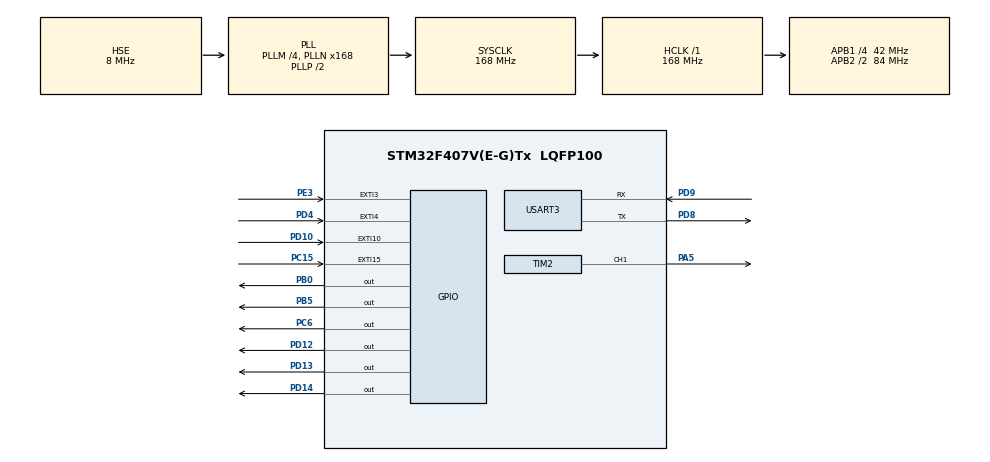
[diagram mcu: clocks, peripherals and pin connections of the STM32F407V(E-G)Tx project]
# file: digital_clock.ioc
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Mcu.Family=STM32F4
Mcu.Name=STM32F407V(E-G)Tx
Mcu.Package=LQFP100
NVIC.EXTI15_10_IRQn=true\:0\:0\:false\:true\:true\:3\:true\:true\:true
NVIC.EXTI3_IRQn=true\:0\:0\:false\:true\:true\:4\:true\:true\:true
NVIC.EXTI4_IRQn=true\:0\:0\:false\:true\:true\:2\:true\:true\:true
NVIC.PriorityGroup=NVIC_PRIORITYGROUP_4
NVIC.TIM6_DAC_IRQn=true\:0\:0\:false\:true\:true\:1\:true\:true\:true
NVIC.USART3_IRQn=true\:0\:0\:false\:true\:true\:5\:true\:true\:true
PA5.Signal=S_TIM2_CH1_ETR
PB0.Signal=GPIO_Output
PB5.Signal=GPIO_Output
PC15-OSC32_OUT.GPIO_ModeDefaultEXTI=GPIO_MODE_IT_RISING_FALLING
PC15-OSC32_OUT.Signal=GPXTI15
PC6.Signal=GPIO_Output
PD10.GPIO_ModeDefaultEXTI=GPIO_MODE_IT_RISING_FALLING
PD10.Signal=GPXTI10
PD12.Signal=GPIO_Output
PD13.Signal=GPIO_Output
PD14.Signal=GPIO_Output
PD4.GPIO_ModeDefaultEXTI=GPIO_MODE_IT_RISING_FALLING
PD4.Signal=GPXTI4
PD8.Mode=Asynchronous
PD8.Signal=USART3_TX
PD9.Mode=Asynchronous
PD9.Signal=USART3_RX
PE3.GPIO_ModeDefaultEXTI=GPIO_MODE_IT_RISING_FALLING
PE3.Signal=GPXTI3
PH0-OSC_IN.Mode=HSE-External-Oscillator
PH0-OSC_IN.Signal=RCC_OSC_IN
PH1-OSC_OUT.Mode=HSE-External-Oscillator
PH1-OSC_OUT.Signal=RCC_OSC_OUT
ProjectManager.HeapSize=0x200
ProjectManager.StackSize=0x400
ProjectManager.TargetToolchain=STM32CubeIDE
RCC.48MHZClocksFreq_Value=84000000
RCC.AHBFreq_Value=168000000
RCC.APB1CLKDivider=RCC_HCLK_DIV4
RCC.APB1Freq_Value=42000000
RCC.APB1TimFreq_Value=84000000
RCC.APB2CLKDivider=RCC_HCLK_DIV2
RCC.APB2Freq_Value=84000000
RCC.APB2TimFreq_Value=168000000
RCC.CortexFreq_Value=168000000
RCC.HCLKFreq_Value=168000000
RCC.HSE_VALUE=8000000
RCC.HSI_VALUE=16000000
RCC.LSE_VALUE=32768
RCC.PLLM=4
RCC.PLLN=168
RCC.PLLSourceVirtual=RCC_PLLSOURCE_HSE
RCC.SYSCLKFreq_VALUE=168000000
RCC.SYSCLKSource=RCC_SYSCLKSOURCE_PLLCLK
RCC.VCOOutputFreq_Value=336000000
SH.S_TIM2_CH1_ETR.0=TIM2_CH1,PWM Generation1 CH1
TIM2.Channel-PWM\ Generation1\ CH1=TIM_CHANNEL_1
TIM2.Period=9
TIM2.Prescaler=41999
TIM2.Pulse-PWM\ Generation1\ CH1=4
TIM6.Period=1000-1
TIM6.Prescaler=84-1
USART3.VirtualMode=VM_ASYNC
VP_TIM2_VS_ClockSourceINT.Mode=Internal
VP_TIM6_VS_ClockSourceINT.Mode=Enable_Timer
board=custom

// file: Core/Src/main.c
/* USER CODE BEGIN Header */
/**
  ******************************************************************************
  * @file           : main.c
  * @brief          : Main program body
  ******************************************************************************
  * @attention
  *
  * Copyright (c) 2024 STMicroelectronics.
  * All rights reserved.
  *
  * This software is licensed under terms that can be found in the LICENSE file
  * in the root directory of this software component.
  * If no LICENSE file comes with this software, it is provided AS-IS.
  *
  ******************************************************************************
  */
/* USER CODE END Header */
#include "main.h"
#include "tim.h"
#include "usart.h"
#include "gpio.h"

/* USER CODE BEGIN Includes */
#include "7SEG.h"
#include "CLCD.h"
#include "lap.h"
#include "buzzer.h"
#include "btn.h"
#include "stopwatch.h"
#include "watch.h"
#include "alarm.h"
#include "mode.h"
/* USER CODE END Includes */

/* USER CODE BEGIN PV */
bool BuzLock;
bool NextItem;
/* USER CODE END PV */

void SystemClock_Config(void);
static void MX_NVIC_Init(void);
/* USER CODE BEGIN PFP */

int _write(int file, char*p , int len)
{
	HAL_UART_Transmit(&huart3, p , len , 10);
	return len;
}
/* USER CODE END PFP */

int main(void)
{

  /* MCU Configuration--------------------------------------------------------*/

  /* Reset of all peripherals, Initializes the Flash interface and the Systick. */
  HAL_Init();

  /* Configure the system clock */
  SystemClock_Config();

  /* Initialize all configured peripherals */
  MX_GPIO_Init();
  MX_TIM2_Init();
  MX_TIM6_Init();
  MX_USART3_UART_Init();

  /* Initialize interrupts */
  MX_NVIC_Init();
  /* USER CODE BEGIN 2 */
	_7SEG_GPIO_Init();

	HAL_GPIO_WritePin(GPIOD, GPIO_PIN_12, GPIO_PIN_SET);
	HAL_GPIO_WritePin(GPIOD, GPIO_PIN_13, GPIO_PIN_SET);
	HAL_GPIO_WritePin(GPIOD, GPIO_PIN_14, GPIO_PIN_SET);

	HAL_GPIO_WritePin(GPIOC, GPIO_PIN_6, GPIO_PIN_SET);
	HAL_GPIO_WritePin(GPIOB, GPIO_PIN_5, GPIO_PIN_SET);
	HAL_GPIO_WritePin(GPIOB, GPIO_PIN_0, GPIO_PIN_SET);

	HAL_TIM_Base_Start_IT(&htim6);
	_7SEG_SetNumber(DGT2, 0, OFF);

	CLCD_GPIO_Init();
	CLCD_Init();
	CLCD_Clear();

	mode = WATCH;

	InitializeBuzzer();
	InitializeButtons();
	InitializeWatch();
	alarm.alarmTime[alarm.alarmIndex].hour = 12;
	alarm.alarmTime[alarm.alarmIndex].minute = 1;
	alarm.alarmTime[alarm.alarmIndex].isEnabled = 1;

  /* USER CODE END 2 */

  /* Infinite loop */
  /* USER CODE BEGIN WHILE */
  while (1)
  {
	  switch(mode)
	  {
	  	  case WATCH:
	  		  switch(watchConfig.SubMode)
	  		  {
	  		  	  case WATCH_NORMAL:
	  		  		  updateWatchDisplay();
	  		  		  break;
	  		  	  case WATCH_CLOCK_SETTING:
	  		  		  ClockSettingMode();
	  		  		  break;
	  		  }
	  		  //btn event
	  		  WatchHandleButton1();
	  		  WatchHandleButton2();
	  		  WatchHandleButton3();
	  		  WatchHandleButton4();
	  	  break;

		case ALARM:
			if (alarm.alertFlag)
			{
				alert();
			}
			else
			{
				displayAlarmSettings();
				//btn event
				AlarmHandleButton1();
				AlarmHandleButton2();
				AlarmHandleButton3();
				AlarmHandleButton4();
			}
			break;

		  case STOPWATCH:
			  updateStopwatchDisplay();

			  StopwatchHandleButton1();
			  StopwatchHandleButton2();
			  StopwatchHandleButton3();
			  StopwatchHandleButton4();
			  break;
	  }

	  // buzzer
	  handleBuzzerActivation();
    /* USER CODE END WHILE */

  }
}

void SystemClock_Config(void)
{
  RCC_OscInitTypeDef RCC_OscInitStruct = {0};
  RCC_ClkInitTypeDef RCC_ClkInitStruct = {0};

  /** Configure the main internal regulator output voltage
  */
  __HAL_RCC_PWR_CLK_ENABLE();
  __HAL_PWR_VOLTAGESCALING_CONFIG(PWR_REGULATOR_VOLTAGE_SCALE1);

  /** Initializes the RCC Oscillators according to the specified parameters
  * in the RCC_OscInitTypeDef structure.
  */
  RCC_OscInitStruct.OscillatorType = RCC_OSCILLATORTYPE_HSE;
  RCC_OscInitStruct.HSEState = RCC_HSE_ON;
  RCC_OscInitStruct.PLL.PLLState = RCC_PLL_ON;
  RCC_OscInitStruct.PLL.PLLSource = RCC_PLLSOURCE_HSE;
  RCC_OscInitStruct.PLL.PLLM = 4;
  RCC_OscInitStruct.PLL.PLLN = 168;
  RCC_OscInitStruct.PLL.PLLP = RCC_PLLP_DIV2;
  RCC_OscInitStruct.PLL.PLLQ = 4;
  if (HAL_RCC_OscConfig(&RCC_OscInitStruct) != HAL_OK)
  {
    Error_Handler();
  }

  /** Initializes the CPU, AHB and APB buses clocks
  */
  RCC_ClkInitStruct.ClockType = RCC_CLOCKTYPE_HCLK|RCC_CLOCKTYPE_SYSCLK
                              |RCC_CLOCKTYPE_PCLK1|RCC_CLOCKTYPE_PCLK2;
  RCC_ClkInitStruct.SYSCLKSource = RCC_SYSCLKSOURCE_PLLCLK;
  RCC_ClkInitStruct.AHBCLKDivider = RCC_SYSCLK_DIV1;
  RCC_ClkInitStruct.APB1CLKDivider = RCC_HCLK_DIV4;
  RCC_ClkInitStruct.APB2CLKDivider = RCC_HCLK_DIV2;

  if (HAL_RCC_ClockConfig(&RCC_ClkInitStruct, FLASH_LATENCY_5) != HAL_OK)
  {
    Error_Handler();
  }
}

/**
  * @brief NVIC Configuration.
  * @retval None
  */
static void MX_NVIC_Init(void)
{
  /* TIM6_DAC_IRQn interrupt configuration */
  HAL_NVIC_SetPriority(TIM6_DAC_IRQn, 0, 0);
  HAL_NVIC_EnableIRQ(TIM6_DAC_IRQn);
  /* EXTI4_IRQn interrupt configuration */
  HAL_NVIC_SetPriority(EXTI4_IRQn, 0, 0);
  HAL_NVIC_EnableIRQ(EXTI4_IRQn);
  /* EXTI15_10_IRQn interrupt configuration */
  HAL_NVIC_SetPriority(EXTI15_10_IRQn, 0, 0);
  HAL_NVIC_EnableIRQ(EXTI15_10_IRQn);
  /* EXTI3_IRQn interrupt configuration */
  HAL_NVIC_SetPriority(EXTI3_IRQn, 0, 0);
  HAL_NVIC_EnableIRQ(EXTI3_IRQn);
  /* USART3_IRQn interrupt configuration */
  HAL_NVIC_SetPriority(USART3_IRQn, 0, 0);
  HAL_NVIC_EnableIRQ(USART3_IRQn);
}

/* USER CODE BEGIN 4 */
void HAL_GPIO_EXTI_Callback(uint16_t GPIO_Pin)
{
	//btn1
	if (GPIO_Pin == GPIO_PIN_3)
	{
		if(HAL_GPIO_ReadPin(GPIOE, GPIO_PIN_3) == GPIO_PIN_SET && Btn1.state == Idle)
		{
			Buz1.BuzTone = BUZ_TONE_LOW_PSC;
			Buz1.BuzFlag = true;
		}
		HandleButtonPress(&Btn1, GPIOE, GPIO_PIN_3);

	}

	//btn2
	if (GPIO_Pin == GPIO_PIN_15)
	{
		if(HAL_GPIO_ReadPin(GPIOC, GPIO_PIN_15) == GPIO_PIN_SET && Btn2.state == Idle)
		{
			Buz1.BuzTone = BUZ_TONE_LOW_PSC;
			Buz1.BuzFlag = true;

			if (mode == WATCH && watchConfig.SubMode == WATCH_CLOCK_SETTING)
			{
				NextItem = 1;  // clock setting flag on
			}
			if(mode == ALARM && alarmSetting.alarmSubMode == ALARM_SETTING)
			{
				NextItem = 1;  // clock setting flag on
			}
			if(mode == STOPWATCH)
			{
				stopwatch.StopwatchFlag = 1;
			}

		}
		HandleButtonPress(&Btn2, GPIOC, GPIO_PIN_15);

	}

	//btn3
	if (GPIO_Pin == GPIO_PIN_4)
	{
		if(HAL_GPIO_ReadPin(GPIOD, GPIO_PIN_4) == GPIO_PIN_SET && Btn3.state == Idle)
		{
			Buz1.BuzTone = BUZ_TONE_LOW_PSC;
			Buz1.BuzFlag = true;

			if (mode == WATCH && watchConfig.SubMode == WATCH_CLOCK_SETTING)
			{
				TimeFlag.increaseFlagOnce = 1;
			}
			if (mode == ALARM && alarmSetting.alarmSubMode == ALARM_SETTING)
			{
				TimeFlag.increaseFlagOnce = 1;
			}
			if(mode == STOPWATCH)
			{
				stopwatch.StopwatchFlag = 1;
			}
		}
		HandleButtonPress(&Btn3, GPIOD, GPIO_PIN_4);
	}

	//btn4
	if (GPIO_Pin == GPIO_PIN_10)
	{
		if(HAL_GPIO_ReadPin(GPIOD, GPIO_PIN_10) == GPIO_PIN_SET && Btn4.state == Idle)
		{
			Buz1.BuzTone = BUZ_TONE_LOW_PSC;
			Buz1.BuzFlag = true;

			if (mode == WATCH && watchConfig.SubMode == WATCH_CLOCK_SETTING)
			{
				TimeFlag.decreaseFlagOnce = 1;  // clock decrease flag on
			}
			if (mode == ALARM && alarmSetting.alarmSubMode == ALARM_SETTING)
			{
				TimeFlag.decreaseFlagOnce = 1;  // clock increase flag on
			}
			if(mode == STOPWATCH)
			{
				stopwatch.StopwatchFlag = 1;
			}
		}

		HandleButtonPress(&Btn4, GPIOD, GPIO_PIN_10);
	}
}

void HAL_TIM_PeriodElapsedCallback(TIM_HandleTypeDef *htim)
{

	if(htim->Instance == TIM6)
	{
		//btn hold event
		BtnHoldEvent(&Btn1,GPIOE,GPIO_PIN_3 );
		BtnHoldEvent(&Btn2,GPIOC,GPIO_PIN_15 );
		BtnHoldEvent(&Btn3,GPIOD,GPIO_PIN_4 );
		BtnHoldEvent(&Btn4,GPIOD,GPIO_PIN_10 );

		//watch time
		updateWatchTime();

		///watch time in/decrease flag
		IncreaseTime();
		DecreaseTime();

		////auto switch to watchmode
		//AutoSwitchToMode(&watchModeConfig);
		//AutoSwitchToMode(&alarmModeConfig);

		//// alarm
		triggerAlarm();
		AlarmLEDOff();

		//buz off
		activateBuzzer30msOff(&Buz1, &htim2, TIM_CHANNEL_1);

		//stopwatch
		updateStopwatchState();

	}
}
/* USER CODE END 4 */

void Error_Handler(void)
{
  __disable_irq();
  while (1)
  {
  }
}
